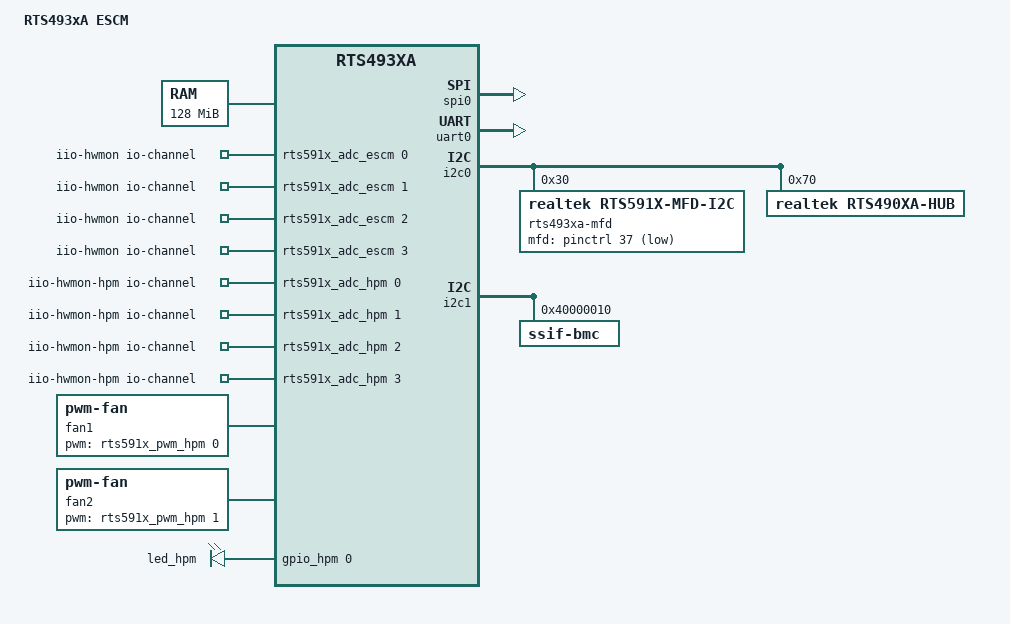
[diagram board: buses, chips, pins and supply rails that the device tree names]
#include "rts4930a.dtsi"
#include <dt-bindings/interrupt-controller/realtek,rts591x-iomatrix.h>

/ {
	model = "RTS493xA ESCM";
	compatible = "realtek,rts493xa-escm","realtek,rts493xa";

	#address-cells = <1>;
	#size-cells = <1>;
	interrupt-parent = <&gic>;

	memory@80000000 {
		device_type = "memory";
		reg = <0x80000000 0x8000000>;
	};

	chosen {
		bootargs = "console=ttyS1,57600 init=/sbin/init earlyprintk rootfstype=squashfs user_debug=31";
		stdout-path = &uart1;
	};

	iio-hwmon {
			compatible = "iio-hwmon";
			io-channels = <&rts591x_adc_escm 0>,
					<&rts591x_adc_escm 1>,
					<&rts591x_adc_escm 2>,
					<&rts591x_adc_escm 3>;
					/* Channels should correspond to the adc enabled channels
					<&rts591x_adc_escm 4>,
					<&rts591x_adc_escm 5>,
					<&rts591x_adc_escm 6>,
					<&rts591x_adc_escm 7>;
					*/
	};

	iio-hwmon-hpm {
			compatible = "iio-hwmon";
			io-channels = <&rts591x_adc_hpm 0>,
					<&rts591x_adc_hpm 1>,
					<&rts591x_adc_hpm 2>,
					<&rts591x_adc_hpm 3>;
					/* Channels should correspond to the adc enabled channels
					<&rts591x_adc_hpm 4>,
					<&rts591x_adc_hpm 5>,
					<&rts591x_adc_hpm 6>,
					<&rts591x_adc_hpm 7>;
					*/
	};

	fan1 {
			compatible = "pwm-fan";
			cooling-levels = <0 102 170 230>;
			pwms = <&rts591x_pwm_hpm 0 40960 0>;
			pulses-per-revolution = <2>;
		};

	fan2 {
			compatible = "pwm-fan";
			cooling-levels = <0 102 170 230>;
			pwms = <&rts591x_pwm_hpm 1 40960 0>;
			pulses-per-revolution = <2>;
		};

};

&spi0 {
	status = "okay";
	spi-transfer-channel = "quad";
	swp_enable;
	partitions {
		compatible = "fixed-partitions";
		#address-cells = <1>;
		#size-cells = <1>;

		partition@0 {
			label = "u-boot";
			reg = <0x00000 0x180000>; //24*64K for uboot
		};

		partition@180000 {
			label = "uboot-env";
			reg = <0x180000 0x80000>; //8*64K for uboot env
		};

		partition@200000 {
			label = "kernel";
			reg = <0x200000 0x880000>; // 68*128K
		};

		partition@a80000 {
			label = "rofs";
			reg = <0xa80000 0xb600000>; //1456*128K
		};

		partition@c080000 {
			label = "rwfs";
			reg = <0xc080000 0x3f80000>; //508*128K
		};
	};
};

&leds {
	led_hpm: identify {
		gpios = <&gpio_hpm 0 GPIO_ACTIVE_HIGH>;
		status = "okay";
	};
};

&uart0 {
	status = "okay";
};

&i2c0 {
	status = "okay";

	rts493xa-mfd@30 {
		compatible = "realtek,rts591x-mfd-i2c";
		reg = <0x30>;

		mfd-gpios = <&pinctrl 37 GPIO_ACTIVE_LOW>;
		interrupt-controller;
		#interrupt-cells = <1>;

		iomatrix-uapi {
			compatible = "realtek,iomatrix-uapi";
		};

		peci {
			compatible = "realtek,rts591x-peci";
			reg = <0x40221900>;
			status = "okay";
		};

		rts591x-peci-oob {
			compatible = "realtek,rts591x-peci-oob";
			status = "okay";
		};

		gpio_scm: gpio {
			compatible = "realtek,rts591x-gpio";
			reg = <0x40230000>;
			#gpio-cells = <2>;

			gpio-line-names =
			"ESCM_GPIO000", "ESCM_GPIO001", "ESCM_GPIO002", "ESCM_GPIO003",
			"ESCM_GPIO004", "ESCM_GPIO005", "ESCM_GPIO006", "ESCM_GPIO007",
			"ESCM_GPIO008", "ESCM_GPIO009", "ESCM_GPIO010", "ESCM_GPIO011",
			"ESCM_GPIO012", "ESCM_GPIO013", "ESCM_GPIO014", "ESCM_GPIO015",
			"ESCM_GPIO016", "ESCM_GPIO017", "ESCM_GPIO018", "ESCM_GPIO019",
			"ESCM_GPIO020", "ESCM_GPIO021", "ESCM_GPIO022", "ESCM_GPIO023",
			"ESCM_GPIO024", "ESCM_GPIO025", "ESCM_GPIO026", "ESCM_GPIO027",
			"ESCM_GPIO028", "ESCM_GPIO029", "ESCM_GPIO030", "ESCM_GPIO031",
			"ESCM_GPIO032", "ESCM_GPIO033", "ESCM_GPIO034", "ESCM_GPIO035",
			"ESCM_GPIO036", "ESCM_GPIO037", "ESCM_GPIO038", "ESCM_GPIO039",
			"ESCM_GPIO040", "ESCM_GPIO041", "ESCM_GPIO042", "ESCM_GPIO043",
			"ESCM_GPIO044", "ESCM_GPIO045", "ESCM_GPIO046", "ESCM_GPIO047",
			"ESCM_GPIO048", "ESCM_GPIO049", "ESCM_GPIO050", "ESCM_GPIO051",
			"ESCM_GPIO052", "ESCM_GPIO053", "ESCM_GPIO054", "ESCM_GPIO055",
			"ESCM_GPIO056", "ESCM_GPIO057", "ESCM_GPIO058", "ESCM_GPIO059",
			"ESCM_GPIO060", "ESCM_GPIO061", "ESCM_GPIO062", "ESCM_GPIO063",
			"ESCM_GPIO064", "ESCM_GPIO065", "ESCM_GPIO066", "ESCM_GPIO067",
			"ESCM_GPIO068", "ESCM_GPIO069", "ESCM_GPIO070", "ESCM_GPIO071",
			"ESCM_GPIO072", "ESCM_GPIO073", "ESCM_GPIO074", "ESCM_GPIO075",
			"ESCM_GPIO076", "ESCM_GPIO077", "ESCM_GPIO078", "ESCM_GPIO079",
			"ESCM_GPIO080", "ESCM_GPIO081", "ESCM_GPIO082", "ESCM_GPIO083",
			"ESCM_GPIO084", "ESCM_GPIO085", "ESCM_GPIO086", "ESCM_GPIO087",
			"ESCM_GPIO088", "ESCM_GPIO089", "ESCM_GPIO090", "ESCM_GPIO091",
			"ESCM_GPIO092", "ESCM_GPIO093", "ESCM_GPIO094", "ESCM_GPIO095",
			"ESCM_GPIO096", "ESCM_GPIO097", "ESCM_GPIO098", "ESCM_GPIO099",
			"ESCM_GPIO100", "ESCM_GPIO101", "ESCM_GPIO102", "ESCM_GPIO103",
			"ESCM_GPIO104", "ESCM_GPIO105", "ESCM_GPIO106", "ESCM_GPIO107",
			"ESCM_GPIO108", "ESCM_GPIO109", "ESCM_GPIO110", "ESCM_GPIO111",
			"ESCM_GPIO112", "ESCM_GPIO113", "ESCM_GPIO114", "ESCM_GPIO115",
			"ESCM_GPIO116", "ESCM_GPIO117", "ESCM_GPIO118", "ESCM_GPIO119",
			"ESCM_GPIO120", "ESCM_GPIO121", "ESCM_GPIO122", "ESCM_GPIO123",
			"ESCM_GPIO124", "ESCM_GPIO125", "ESCM_GPIO126", "ESCM_GPIO127",
			"ESCM_GPIO128", "ESCM_GPIO129", "ESCM_GPIO130", "ESCM_GPIO131";
			status = "okay";
		};

		rts591x-i2c10 {
			compatible = "realtek,rts591x-i2c";
			reg = <0x40251200>;
			id = <10>;
			interrupts = <RTS591X_IOMATRIX_IRQ_I2C10>;
			status = "okay";
		};

		rts591x-i2c11 {
			compatible = "realtek,rts591x-i2c";
			reg = <0x40251400>;
			id = <11>;
			interrupts = <RTS591X_IOMATRIX_IRQ_I2C11>;
			status = "okay";
		};

		rts591x-i2c1 {
			compatible = "realtek,rts591x-i2c";
			reg = <0x40250000>;
			id = <1>;
			interrupts = <RTS591X_IOMATRIX_IRQ_I2C1>;
			status = "okay";
		};

		rts591x-i2c2 {
			compatible = "realtek,rts591x-i2c";
			reg = <0x40250200>;
			id = <2>;
			interrupts = <RTS591X_IOMATRIX_IRQ_I2C2>;
			status = "okay";
		};

		rts591x-i2c6 {
			compatible = "realtek,rts591x-i2c";
			reg = <0x40250A00>;
			id = <6>;
			interrupts = <RTS591X_IOMATRIX_IRQ_I2C6>;
			status = "okay";
		};

		rts591x_adc_escm: rts591x-adc-escm {
			compatible = "realtek,rts591x-adc";
			reg = <0x40251900>;
			linear-Calibration;
			mode = "repeat";
			status = "disabled";
			#io-channel-cells = <1>;

			channel@0{
				channel-en = "enabled";
				low-pass-filter;
			};

			channel@1{
				channel-en = "enabled";
				low-pass-filter;
			};

			channel@2{
				channel-en = "enabled";
				low-pass-filter;
			};

			channel@3{
				channel-en = "enabled";
				low-pass-filter;
			};

			channel@4{
				channel-en = "disabled";
				low-pass-filter;
			};

			channel@5{
				channel-en = "disabled";
				low-pass-filter;
			};

			channel@6{
				channel-en = "disabled";
				low-pass-filter;
			};

			channel@7{
				channel-en = "disabled";
				low-pass-filter;
			};
		};

		rts591x-kcs-bmc {
			compatible = "realtek,rts591x-kcs-bmc";
			reg = <0x40221700>;
			interrupts = <RTS591X_IOMATRIX_IRQ_KCS_IBF>;
			kcs_chan = <1>;
			realtek,io-reg = <0xCA2 0xCA3>;
		};

		rts591x-espi-snoop {
			compatible = "realtek,rts591x-espi-snoop";
			reg = <0x40221200>;
			interrupts = <RTS591X_IOMATRIX_IRQ_PORT80>;
			snoop-channel = <0>;
		};
	};

	rts493xa-mfd@31 {
		compatible = "realtek,rts591x-mfd-i2c-hpm";
		reg = <0x31>;
		status = "disabled";

		mfd-gpios = <&pinctrl 36 GPIO_ACTIVE_LOW>;
		interrupt-controller;
		#interrupt-cells = <1>;

		iomatrix-uapi {
			compatible = "realtek,iomatrix-uapi";
		};

		gpio_hpm: gpio {
			compatible = "realtek,rts591x-gpio";
			reg = <0x40090000>;
			status = "okay";
			#gpio-cells = <2>;

			gpio-line-names =
			"HPM_GPIO000", "HPM_GPIO001", "HPM_GPIO002", "HPM_GPIO003",
			"HPM_GPIO004", "HPM_GPIO005", "HPM_GPIO006", "HPM_GPIO007",
			"HPM_GPIO008", "HPM_GPIO009", "HPM_GPIO010", "HPM_GPIO011",
			"HPM_GPIO012", "HPM_GPIO013", "HPM_GPIO014", "HPM_GPIO015",
			"HPM_GPIO016", "HPM_GPIO017", "HPM_GPIO018", "HPM_GPIO019",
			"HPM_GPIO020", "HPM_GPIO021", "HPM_GPIO022", "HPM_GPIO023",
			"HPM_GPIO024", "HPM_GPIO025", "HPM_GPIO026", "HPM_GPIO027",
			"HPM_GPIO028", "HPM_GPIO029", "HPM_GPIO030", "HPM_GPIO031",
			"HPM_GPIO032", "HPM_GPIO033", "HPM_GPIO034", "HPM_GPIO035",
			"HPM_GPIO036", "HPM_GPIO037", "HPM_GPIO038", "HPM_GPIO039",
			"HPM_GPIO040", "HPM_GPIO041", "HPM_GPIO042", "HPM_GPIO043",
			"HPM_GPIO044", "HPM_GPIO045", "HPM_GPIO046", "HPM_GPIO047",
			"HPM_GPIO048", "HPM_GPIO049", "HPM_GPIO050", "HPM_GPIO051",
			"HPM_GPIO052", "HPM_GPIO053", "HPM_GPIO054", "HPM_GPIO055",
			"HPM_GPIO056", "HPM_GPIO057", "HPM_GPIO058", "HPM_GPIO059",
			"HPM_GPIO060", "HPM_GPIO061", "HPM_GPIO062", "HPM_GPIO063",
			"HPM_GPIO064", "HPM_GPIO065", "HPM_GPIO066", "HPM_GPIO067",
			"HPM_GPIO068", "HPM_GPIO069", "HPM_GPIO070", "HPM_GPIO071",
			"HPM_GPIO072", "HPM_GPIO073", "HPM_GPIO074", "HPM_GPIO075",
			"HPM_GPIO076", "HPM_GPIO077", "HPM_GPIO078", "HPM_GPIO079",
			"HPM_GPIO080", "HPM_GPIO081", "HPM_GPIO082", "HPM_GPIO083",
			"HPM_GPIO084", "HPM_GPIO085", "HPM_GPIO086", "HPM_GPIO087",
			"HPM_GPIO088", "HPM_GPIO089", "HPM_GPIO090", "HPM_GPIO091",
			"HPM_GPIO092", "HPM_GPIO093", "HPM_GPIO094", "HPM_GPIO095",
			"HPM_GPIO096", "HPM_GPIO097", "HPM_GPIO098", "HPM_GPIO099",
			"HPM_GPIO100", "HPM_GPIO101", "HPM_GPIO102", "HPM_GPIO103",
			"HPM_GPIO104", "HPM_GPIO105", "HPM_GPIO106", "HPM_GPIO107",
			"HPM_GPIO108", "HPM_GPIO109", "HPM_GPIO110", "HPM_GPIO111",
			"HPM_GPIO112", "HPM_GPIO113", "HPM_GPIO114", "HPM_GPIO115",
			"HPM_GPIO116", "HPM_GPIO117", "HPM_GPIO118", "HPM_GPIO119",
			"HPM_GPIO120", "HPM_GPIO121", "HPM_GPIO122", "HPM_GPIO123",
			"HPM_GPIO124", "HPM_GPIO125", "HPM_GPIO126", "HPM_GPIO127",
			"HPM_GPIO128", "HPM_GPIO129", "HPM_GPIO130", "HPM_GPIO131";
		};

		rts591x_adc_hpm: adc-hpm {
			compatible = "realtek,rts591x-adc";
			reg = <0x4000FE00>;
			linear-Calibration;
			mode = "repeat";
			status = "okay";
			#io-channel-cells = <1>;

			channel@0{
				channel-en = "enabled";
				low-pass-filter;
			};

			channel@1{
				channel-en = "enabled";
				low-pass-filter;
			};

			channel@2{
				channel-en = "enabled";
				low-pass-filter;
			};

			channel@3{
				channel-en = "enabled";
				low-pass-filter;
			};

			channel@4{
				channel-en = "disabled";
				low-pass-filter;
			};

			channel@5{
				channel-en = "disabled";
				low-pass-filter;
			};

			channel@6{
				channel-en = "disabled";
				low-pass-filter;
			};

			channel@7{
				channel-en = "disabled";
				low-pass-filter;
			};
		};

		rts591x_pwm_hpm: rts591x_pwm_fan_hpm {
			compatible = "realtek,rts591x-pwm-tacho";
			reg = <0x4000f000>;
			clock-source= <0>; /*clock source selection*/
			status = "okay";
			#pwm-cells = <3>;

			fans {
				reg = <0x4000fd00>;
				edge-selection = <0>;

				rts591x-fan@0 {
					reg = <0x00>;
					fan-tach-ch = /bits/ 8 <0x00>;
				};

				rts591x-fan@1 {
					reg = <0x01>;
					fan-tach-ch = /bits/ 8 <0x01>;
				};

				// rts591x-fan@2 {
				// 	reg = <0x02>;
				// 	fan-tach-ch = /bits/ 8 <0x02>;
				// };

				// rts591x-fan@3 {
				// 	reg = <0x03>;
				// 	fan-tach-ch = /bits/ 8 <0x03>;
				// };
			};

		};
	};

	rts490xa-hub@70 {
		compatible = "realtek,rts490xa-hub";
		reg = <0x70>;

		cp0-ldo-en = "enabled";
		cp1-ldo-en = "enabled";
		cp0-ldo-volt = "1.8V";
		cp1-ldo-volt = "1.8V";
		tp0145-ldo-en = "enabled";
		tp2367-ldo-en = "enabled";
		tp0145-ldo-volt = "1.8V";
		tp2367-ldo-volt = "1.8V";
		tp0145-pullup = "500R";
		tp2367-pullup = "500R";
		tp0145-io-strength = "30Ohms";
		tp2367-io-strength = "30Ohms";
		cp0-io-strength = "20Ohms";
		cp1-io-strength = "20Ohms";

		target-port@0 {
			mode = "smbus";
			pullup = "enabled";
			mctp-controller;
			backend@0,0 {
				compatible = "mctp-i2c-controller";
				target-reg = <0x10>;
			};
		};

		target-port@1 {
			mode = "smbus";
			pullup = "enabled";
			backend@0,0 {
				compatible = "slave-mqueue";
				target-reg = <0x10>;
			};
		};

		target-port@4 {
			mode = "smbus";
			pullup = "enabled";
			backend@0,0 {
				compatible = "slave-mqueue";
				target-reg = <0x10>;
			};
		};

		target-port@5 {
			mode = "smbus";
			pullup = "enabled";
			backend@0,0 {
				compatible = "slave-mqueue";
				target-reg = <0x10>;
			};
		};
	};
};

&pinctrl {
	gpio-line-names =
	"", "", "", "", "", "", "", "", // 0~7
	"PGOOD", "",  // 8,9
	"CHASSIS_INTRUSION",                    // 10
	"", "", "", "", "", "", "", "", "", "",  // 11~20
	"", "", "", "", "", "", "", "", "", "",  // 21~30
	"", "", "", "", "", "", "", "", "", "",  // 31~40
	"", "", "", "", "", "", "", "", "", "",  // 41~50
	"", "", "", "", "", "", "", "", "", "",  // 51~60
	"", "", "", "", "", "", "", "", "", "",  // 61~70
	"", "", "", "", "", "", "", "", "", "",  // 71~80
	"", "", "", "", "", "", "", "", "";      // 81~88
};

&i2c1 {
	status = "okay";

	ssif-bmc@10 {
		compatible = "ssif-bmc";
		reg = <0x40000010>;
	};
};
